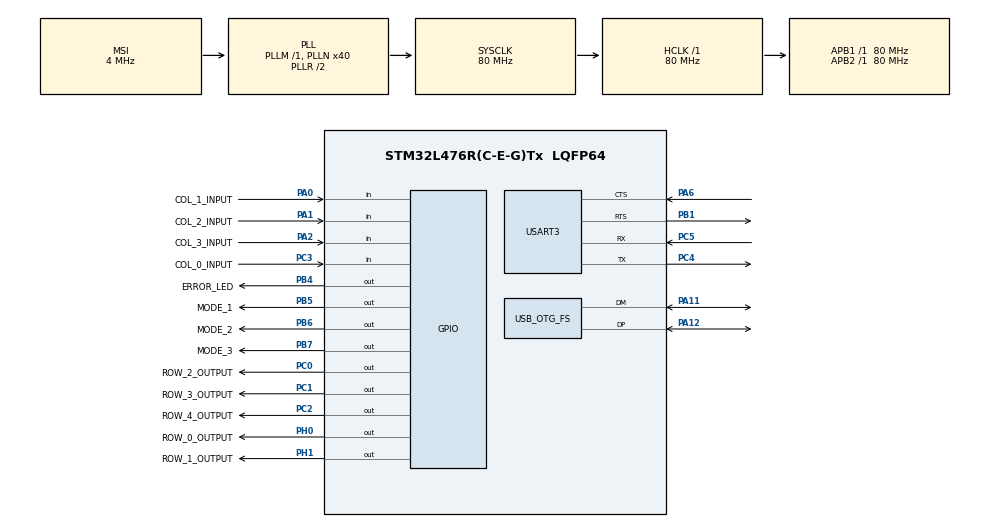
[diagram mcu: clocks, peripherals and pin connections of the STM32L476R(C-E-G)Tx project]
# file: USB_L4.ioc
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Mcu.Family=STM32L4
Mcu.Name=STM32L476R(C-E-G)Tx
Mcu.Package=LQFP64
NVIC.OTG_FS_IRQn=true\:0\:0\:false\:false\:true\:false\:true
NVIC.PriorityGroup=NVIC_PRIORITYGROUP_4
PA0.GPIO_Label=COL_1_INPUT
PA0.GPIO_PuPd=GPIO_PULLDOWN
PA0.Signal=GPIO_Input
PA1.GPIO_Label=COL_2_INPUT
PA1.GPIO_PuPd=GPIO_PULLDOWN
PA1.Signal=GPIO_Input
PA11.Mode=Device_Only
PA11.Signal=USB_OTG_FS_DM
PA12.Mode=Device_Only
PA12.Signal=USB_OTG_FS_DP
PA13\ (JTMS-SWDIO).Mode=Trace_Asynchronous_SW
PA13\ (JTMS-SWDIO).Signal=SYS_JTMS-SWDIO
PA14\ (JTCK-SWCLK).Mode=Trace_Asynchronous_SW
PA14\ (JTCK-SWCLK).Signal=SYS_JTCK-SWCLK
PA2.GPIO_Label=COL_3_INPUT
PA2.GPIO_PuPd=GPIO_PULLDOWN
PA2.Signal=GPIO_Input
PA6.Mode=CTS_RTS
PA6.Signal=USART3_CTS
PB1.Mode=CTS_RTS
PB1.Signal=USART3_RTS
PB3\ (JTDO-TRACESWO).Mode=Trace_Asynchronous_SW
PB3\ (JTDO-TRACESWO).Signal=SYS_JTDO-SWO
PB4\ (NJTRST).GPIO_Label=ERROR_LED
PB4\ (NJTRST).PinState=GPIO_PIN_RESET
PB4\ (NJTRST).Signal=GPIO_Output
PB5.GPIO_Label=MODE_1
PB5.PinState=GPIO_PIN_RESET
PB5.Signal=GPIO_Output
PB6.GPIO_Label=MODE_2
PB6.PinState=GPIO_PIN_RESET
PB6.Signal=GPIO_Output
PB7.GPIO_Label=MODE_3
PB7.PinState=GPIO_PIN_RESET
PB7.Signal=GPIO_Output
PC0.GPIO_Label=ROW_2_OUTPUT
PC0.GPIO_ModeDefaultOutputPP=GPIO_MODE_OUTPUT_PP
PC0.GPIO_Speed=GPIO_SPEED_FREQ_HIGH
PC0.PinState=GPIO_PIN_RESET
PC0.Signal=GPIO_Output
PC1.GPIO_Label=ROW_3_OUTPUT
PC1.GPIO_Speed=GPIO_SPEED_FREQ_HIGH
PC1.Signal=GPIO_Output
PC2.GPIO_Label=ROW_4_OUTPUT
PC2.GPIO_Speed=GPIO_SPEED_FREQ_HIGH
PC2.Signal=GPIO_Output
PC3.GPIO_Label=COL_0_INPUT
PC3.GPIO_PuPd=GPIO_PULLDOWN
PC3.Signal=GPIO_Input
PC4.Mode=Asynchronous
PC4.Signal=USART3_TX
PC5.Mode=Asynchronous
PC5.Signal=USART3_RX
PH0-OSC_IN\ (PH0).GPIO_Label=ROW_0_OUTPUT
PH0-OSC_IN\ (PH0).GPIO_Speed=GPIO_SPEED_FREQ_HIGH
PH0-OSC_IN\ (PH0).Signal=GPIO_Output
PH1-OSC_OUT\ (PH1).GPIO_Label=ROW_1_OUTPUT
PH1-OSC_OUT\ (PH1).GPIO_Speed=GPIO_SPEED_FREQ_HIGH
PH1-OSC_OUT\ (PH1).Signal=GPIO_Output
ProjectManager.HeapSize=0x400
ProjectManager.StackSize=0x800
ProjectManager.TargetToolchain=STM32CubeIDE
RCC.ADCFreq_Value=48000000
RCC.AHBFreq_Value=80000000
RCC.APB1Freq_Value=80000000
RCC.APB1TimFreq_Value=80000000
RCC.APB2Freq_Value=80000000
RCC.APB2TimFreq_Value=80000000
RCC.CortexFreq_Value=80000000
RCC.HCLKFreq_Value=80000000
RCC.HSE_VALUE=8000000
RCC.HSI_VALUE=16000000
RCC.LSE_VALUE=32768
RCC.MSI_VALUE=4000000
RCC.PLLN=40
RCC.PLLSAI1N=24
RCC.SYSCLKFreq_VALUE=80000000
RCC.SYSCLKSource=RCC_SYSCLKSOURCE_PLLCLK
RCC.USBFreq_Value=48000000
RCC.VCOOutputFreq_Value=160000000
USART3.VirtualMode-Asynchronous=VM_ASYNC
USB_DEVICE.CLASS_NAME_FS=HID
USB_DEVICE.PID_HID_FS=22316
USB_DEVICE.USBD_MAX_STR_DESC_SIZ=64
USB_DEVICE.USBD_SELF_POWERED=0
USB_DEVICE.VirtualMode=Hid
USB_DEVICE.VirtualModeFS=Hid_FS
USB_OTG_FS.VirtualMode=Device_Only
VP_USB_DEVICE_VS_USB_DEVICE_HID_FS.Mode=HID_FS
board=custom

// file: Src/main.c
/* USER CODE BEGIN Header */
/**
  ******************************************************************************
  * @file           : main.c
  * @brief          : Main program body
  ******************************************************************************
  * @attention
  *
  * <h2><center>&copy; Copyright (c) 2019 STMicroelectronics.
  * All rights reserved.</center></h2>
  *
  * This software component is licensed by ST under BSD 3-Clause license,
  * the "License"; You may not use this file except in compliance with the
  * License. You may obtain a copy of the License at:
  *                        opensource.org/licenses/BSD-3-Clause
  *
  ******************************************************************************
  */
/* USER CODE END Header */
#include "main.h"
#include "usb_device.h"

/* USER CODE BEGIN Includes */
#include "code/GetPressedKeys.h"
#include "usbd_hid.h"
/* USER CODE END Includes */

UART_HandleTypeDef huart3;

void SystemClock_Config(void);
static void MX_GPIO_Init(void);
static void MX_USART3_UART_Init(void);

/* USER CODE BEGIN 0 */
uint8_t buffer[8];
extern USBD_HandleTypeDef hUsbDeviceFS;
/* USER CODE END 0 */

int main(void)
{

  /* MCU Configuration--------------------------------------------------------*/

  /* Reset of all peripherals, Initializes the Flash interface and the Systick. */
  HAL_Init();

  /* Configure the system clock */
  SystemClock_Config();

  /* Initialize all configured peripherals */
  MX_GPIO_Init();
  MX_USB_DEVICE_Init();
  MX_USART3_UART_Init();
  /* USER CODE BEGIN 2 */
  /*
  while(1)
  {
	  HAL_GPIO_WritePin(ERROR_LED_GPIO_Port, ERROR_LED_Pin,   GPIO_PIN_SET);
	  HAL_Delay(1000);
	  HAL_GPIO_WritePin(ERROR_LED_GPIO_Port, ERROR_LED_Pin,   GPIO_PIN_RESET);
	  HAL_Delay(1000);
  }
  */
  setupUSBConversionTable();
  KeysPressed * pressedKeys = getKeyPadPressedKeys();
  memset(buffer,0,8);
  buffer[0] = 1;

  /* USER CODE END 2 */

  /* Infinite loop */
  while (1)
  {

    /* USER CODE BEGIN 3 */

	  calculatePressedKeys();
	  if(pressedKeys->numKeysPressed)
	  {

		  buffer[3] = charToUSBKey[pressedKeys->pressedKeys[0]];
		  USBD_HID_SendReport(&hUsbDeviceFS, buffer, 8);
		  HAL_Delay(100);
		  buffer[3] = 0x00;
		  USBD_HID_SendReport(&hUsbDeviceFS, buffer, 8);
		  HAL_Delay(100);
	  }
	  HAL_Delay(10);

  }
  /* USER CODE END 3 */
}

void SystemClock_Config(void)
{
  RCC_OscInitTypeDef RCC_OscInitStruct = {0};
  RCC_ClkInitTypeDef RCC_ClkInitStruct = {0};
  RCC_PeriphCLKInitTypeDef PeriphClkInit = {0};

  /** Initializes the RCC Oscillators according to the specified parameters
  * in the RCC_OscInitTypeDef structure.
  */
  RCC_OscInitStruct.OscillatorType = RCC_OSCILLATORTYPE_MSI;
  RCC_OscInitStruct.MSIState = RCC_MSI_ON;
  RCC_OscInitStruct.MSICalibrationValue = 0;
  RCC_OscInitStruct.MSIClockRange = RCC_MSIRANGE_6;
  RCC_OscInitStruct.PLL.PLLState = RCC_PLL_ON;
  RCC_OscInitStruct.PLL.PLLSource = RCC_PLLSOURCE_MSI;
  RCC_OscInitStruct.PLL.PLLM = 1;
  RCC_OscInitStruct.PLL.PLLN = 40;
  RCC_OscInitStruct.PLL.PLLP = RCC_PLLP_DIV7;
  RCC_OscInitStruct.PLL.PLLQ = RCC_PLLQ_DIV2;
  RCC_OscInitStruct.PLL.PLLR = RCC_PLLR_DIV2;
  if (HAL_RCC_OscConfig(&RCC_OscInitStruct) != HAL_OK)
  {
    Error_Handler();
  }
  /** Initializes the CPU, AHB and APB buses clocks
  */
  RCC_ClkInitStruct.ClockType = RCC_CLOCKTYPE_HCLK|RCC_CLOCKTYPE_SYSCLK
                              |RCC_CLOCKTYPE_PCLK1|RCC_CLOCKTYPE_PCLK2;
  RCC_ClkInitStruct.SYSCLKSource = RCC_SYSCLKSOURCE_PLLCLK;
  RCC_ClkInitStruct.AHBCLKDivider = RCC_SYSCLK_DIV1;
  RCC_ClkInitStruct.APB1CLKDivider = RCC_HCLK_DIV1;
  RCC_ClkInitStruct.APB2CLKDivider = RCC_HCLK_DIV1;

  if (HAL_RCC_ClockConfig(&RCC_ClkInitStruct, FLASH_LATENCY_4) != HAL_OK)
  {
    Error_Handler();
  }
  PeriphClkInit.PeriphClockSelection = RCC_PERIPHCLK_USART3|RCC_PERIPHCLK_USB;
  PeriphClkInit.Usart3ClockSelection = RCC_USART3CLKSOURCE_PCLK1;
  PeriphClkInit.UsbClockSelection = RCC_USBCLKSOURCE_PLLSAI1;
  PeriphClkInit.PLLSAI1.PLLSAI1Source = RCC_PLLSOURCE_MSI;
  PeriphClkInit.PLLSAI1.PLLSAI1M = 1;
  PeriphClkInit.PLLSAI1.PLLSAI1N = 24;
  PeriphClkInit.PLLSAI1.PLLSAI1P = RCC_PLLP_DIV7;
  PeriphClkInit.PLLSAI1.PLLSAI1Q = RCC_PLLQ_DIV2;
  PeriphClkInit.PLLSAI1.PLLSAI1R = RCC_PLLR_DIV2;
  PeriphClkInit.PLLSAI1.PLLSAI1ClockOut = RCC_PLLSAI1_48M2CLK;
  if (HAL_RCCEx_PeriphCLKConfig(&PeriphClkInit) != HAL_OK)
  {
    Error_Handler();
  }
  /** Configure the main internal regulator output voltage
  */
  if (HAL_PWREx_ControlVoltageScaling(PWR_REGULATOR_VOLTAGE_SCALE1) != HAL_OK)
  {
    Error_Handler();
  }
}

static void MX_USART3_UART_Init(void)
{

  huart3.Instance = USART3;
  huart3.Init.BaudRate = 115200;
  huart3.Init.WordLength = UART_WORDLENGTH_8B;
  huart3.Init.StopBits = UART_STOPBITS_1;
  huart3.Init.Parity = UART_PARITY_NONE;
  huart3.Init.Mode = UART_MODE_TX_RX;
  huart3.Init.HwFlowCtl = UART_HWCONTROL_RTS_CTS;
  huart3.Init.OverSampling = UART_OVERSAMPLING_16;
  huart3.Init.OneBitSampling = UART_ONE_BIT_SAMPLE_DISABLE;
  huart3.AdvancedInit.AdvFeatureInit = UART_ADVFEATURE_NO_INIT;
  if (HAL_UART_Init(&huart3) != HAL_OK)
  {
    Error_Handler();
  }

}

static void MX_GPIO_Init(void)
{
  GPIO_InitTypeDef GPIO_InitStruct = {0};

  /* GPIO Ports Clock Enable */
  __HAL_RCC_GPIOH_CLK_ENABLE();
  __HAL_RCC_GPIOC_CLK_ENABLE();
  __HAL_RCC_GPIOA_CLK_ENABLE();
  __HAL_RCC_GPIOB_CLK_ENABLE();

  /*Configure GPIO pin Output Level */
  HAL_GPIO_WritePin(GPIOH, ROW_0_OUTPUT_Pin|ROW_1_OUTPUT_Pin, GPIO_PIN_RESET);

  /*Configure GPIO pin Output Level */
  HAL_GPIO_WritePin(GPIOC, ROW_2_OUTPUT_Pin|ROW_3_OUTPUT_Pin|ROW_4_OUTPUT_Pin, GPIO_PIN_RESET);

  /*Configure GPIO pin Output Level */
  HAL_GPIO_WritePin(GPIOB, ERROR_LED_Pin|MODE_1_Pin|MODE_2_Pin|MODE_3_Pin, GPIO_PIN_RESET);

  /*Configure GPIO pins : ROW_0_OUTPUT_Pin ROW_1_OUTPUT_Pin */
  GPIO_InitStruct.Pin = ROW_0_OUTPUT_Pin|ROW_1_OUTPUT_Pin;
  GPIO_InitStruct.Mode = GPIO_MODE_OUTPUT_PP;
  GPIO_InitStruct.Pull = GPIO_NOPULL;
  GPIO_InitStruct.Speed = GPIO_SPEED_FREQ_HIGH;
  HAL_GPIO_Init(GPIOH, &GPIO_InitStruct);

  /*Configure GPIO pins : ROW_2_OUTPUT_Pin ROW_3_OUTPUT_Pin ROW_4_OUTPUT_Pin */
  GPIO_InitStruct.Pin = ROW_2_OUTPUT_Pin|ROW_3_OUTPUT_Pin|ROW_4_OUTPUT_Pin;
  GPIO_InitStruct.Mode = GPIO_MODE_OUTPUT_PP;
  GPIO_InitStruct.Pull = GPIO_NOPULL;
  GPIO_InitStruct.Speed = GPIO_SPEED_FREQ_HIGH;
  HAL_GPIO_Init(GPIOC, &GPIO_InitStruct);

  /*Configure GPIO pin : COL_0_INPUT_Pin */
  GPIO_InitStruct.Pin = COL_0_INPUT_Pin;
  GPIO_InitStruct.Mode = GPIO_MODE_INPUT;
  GPIO_InitStruct.Pull = GPIO_PULLDOWN;
  HAL_GPIO_Init(COL_0_INPUT_GPIO_Port, &GPIO_InitStruct);

  /*Configure GPIO pins : COL_1_INPUT_Pin COL_2_INPUT_Pin COL_3_INPUT_Pin */
  GPIO_InitStruct.Pin = COL_1_INPUT_Pin|COL_2_INPUT_Pin|COL_3_INPUT_Pin;
  GPIO_InitStruct.Mode = GPIO_MODE_INPUT;
  GPIO_InitStruct.Pull = GPIO_PULLDOWN;
  HAL_GPIO_Init(GPIOA, &GPIO_InitStruct);

  /*Configure GPIO pins : ERROR_LED_Pin MODE_1_Pin MODE_2_Pin MODE_3_Pin */
  GPIO_InitStruct.Pin = ERROR_LED_Pin|MODE_1_Pin|MODE_2_Pin|MODE_3_Pin;
  GPIO_InitStruct.Mode = GPIO_MODE_OUTPUT_PP;
  GPIO_InitStruct.Pull = GPIO_NOPULL;
  GPIO_InitStruct.Speed = GPIO_SPEED_FREQ_LOW;
  HAL_GPIO_Init(GPIOB, &GPIO_InitStruct);

}

void Error_Handler(void)
{
}

/************************ (C) COPYRIGHT STMicroelectronics *****END OF FILE****/
